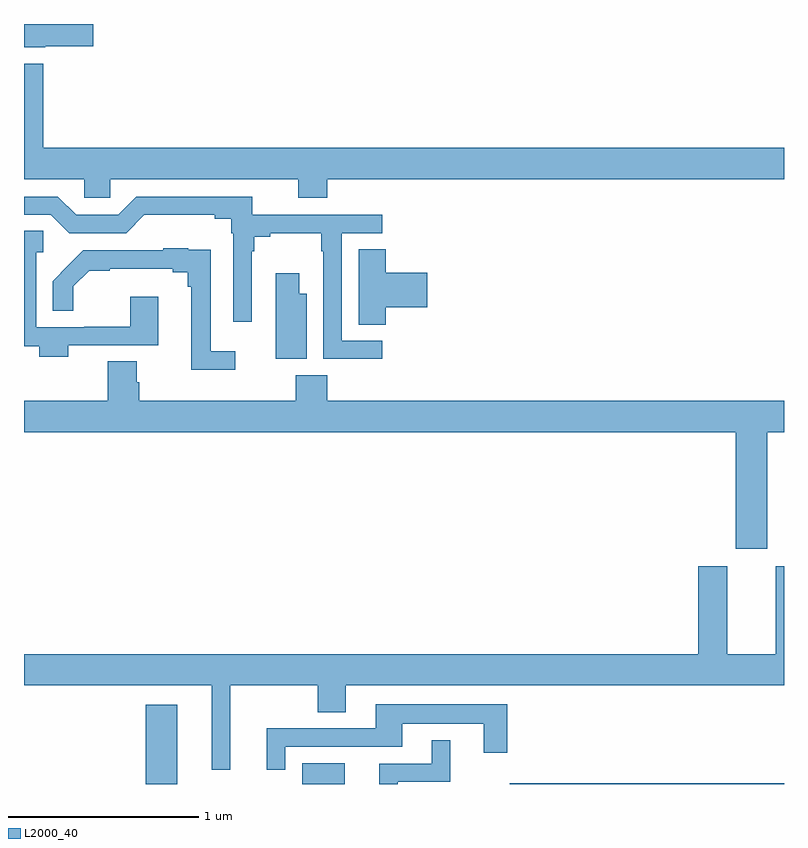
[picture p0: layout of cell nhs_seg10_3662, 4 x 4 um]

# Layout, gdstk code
import gdstk
lib = gdstk.Library(unit=1e-6, precision=1e-09)
def R(c, l, rs):  # rectangles x0, y0, x1, y1
    for r in rs: c.add(gdstk.rectangle(r[:2], r[2:], *l))
def P(c, l, *ps):  # polygons
    for p in ps: c.add(gdstk.Polygon(p, *l))
L2000_40 = (2000, 40)

nhs_seg10_3662 = lib.new_cell('nhs_seg10_3662')
R(nhs_seg10_3662, L2000_40, [(311.642,1262.5,311.806,1262.917), (312.464,1262.5,312.688,1262.608), (313.557,1262.5,315,1262.504)])
P(nhs_seg10_3662, L2000_40, [(311.112,1266.383),(311.365,1266.383),(311.365,1266.5),(311,1266.5),(311,1266.377),(311.112,1266.377)],
  [(312.596,1265.684),(315,1265.684),(315,1265.848),(311.101,1265.848),(311.101,1266.292),(311,1266.292),(311,1265.684),(311.316,1265.684),(311.316,1265.586),(311.454,1265.586),(311.454,1265.684),(312.443,1265.684),(312.443,1265.585),(312.596,1265.585)],
  [(312.886,1264.833),(312.672,1264.833),(312.672,1265.4),(312.886,1265.4),(312.886,1265.496),(312.201,1265.496),(312.201,1265.592),(311.592,1265.592),(311.496,1265.496),(311.274,1265.496),(311.178,1265.592),(311,1265.592),(311,1265.496),(311.142,1265.496),(311.238,1265.4),(311.538,1265.4),(311.633,1265.495),(312.005,1265.495),(312.005,1265.476),(312.09,1265.476),(312.09,1265.399),(312.102,1265.399),(312.102,1264.932),(312.198,1264.932),(312.198,1265.303),(312.211,1265.303),(312.211,1265.38),(312.295,1265.38),(312.295,1265.399),(312.564,1265.399),(312.564,1265.303),(312.576,1265.303),(312.576,1264.737),(312.886,1264.737)],
  [(311.234,1264.809),(311.707,1264.809),(311.707,1265.065),(311.56,1265.065),(311.56,1264.907),(311.317,1264.907),(311.317,1264.905),(311.065,1264.905),(311.065,1265.3),(311.1,1265.3),(311.1,1265.411),(311,1265.411),(311,1264.805),(311.081,1264.805),(311.081,1264.748),(311.234,1264.748)],
  [(312.112,1264.777),(311.983,1264.777),(311.983,1265.312),(311.865,1265.312),(311.865,1265.32),(311.733,1265.32),(311.733,1265.31),(311.312,1265.31),(311.233,1265.231),(311.234,1265.23),(311.15,1265.147),(311.15,1264.99),(311.26,1264.99),(311.26,1265.119),(311.343,1265.202),(311.452,1265.202),(311.452,1265.213),(311.783,1265.213),(311.783,1265.194),(311.862,1265.194),(311.862,1265.117),(311.879,1265.117),(311.879,1264.679),(312.112,1264.679)],
  [(312.905,1265.009),(313.123,1265.009),(313.123,1265.192),(312.905,1265.192),(312.905,1265.315),(312.761,1265.315),(312.761,1264.918),(312.905,1264.918)],
  [(312.487,1265.08),(312.448,1265.08),(312.448,1265.188),(312.326,1265.188),(312.326,1264.737),(312.487,1264.737)],
  [(314.911,1264.352),(315,1264.352),(315,1264.516),(312.596,1264.516),(312.596,1264.651),(312.431,1264.651),(312.431,1264.516),(311.606,1264.516),(311.606,1264.614),(311.593,1264.614),(311.593,1264.724),(311.441,1264.724),(311.441,1264.516),(311,1264.516),(311,1264.352),(314.747,1264.352),(314.747,1263.738),(314.911,1263.738)],
  [(312.086,1263.02),(312.547,1263.02),(312.547,1262.878),(312.694,1262.878),(312.694,1263.02),(315,1263.02),(315,1263.646),(314.957,1263.646),(314.957,1263.184),(314.701,1263.184),(314.701,1263.646),(314.549,1263.646),(314.549,1263.184),(311,1263.184),(311,1263.02),(311.987,1263.02),(311.987,1262.574),(312.086,1262.574)],
  [(312.375,1262.697),(312.991,1262.697),(312.991,1262.816),(313.421,1262.816),(313.421,1262.664),(313.543,1262.664),(313.543,1262.92),(312.851,1262.92),(312.851,1262.793),(312.278,1262.793),(312.278,1262.574),(312.375,1262.574)],
  [(312.966,1262.511),(313.243,1262.511),(313.243,1262.731),(313.145,1262.731),(313.145,1262.607),(312.869,1262.607),(312.869,1262.5),(312.966,1262.5)])

lib.write_gds('nhs_seg10_3662.gds')
